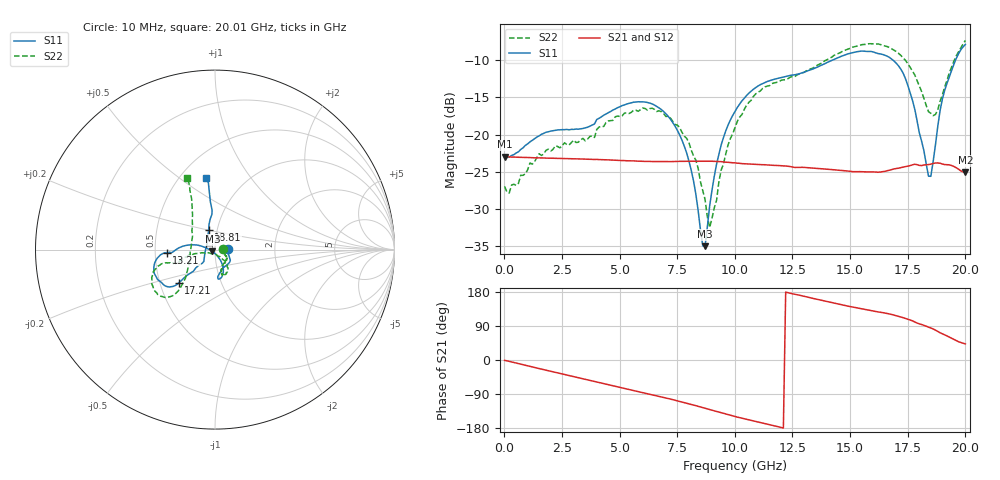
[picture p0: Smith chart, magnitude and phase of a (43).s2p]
! Hittite Microwave Corporation
! 2 Elizabeth Drive
! Chelmsford, MA 01824
! http://www.hittite.com
! Tel: 978-250-3343
! Fax: 978-250-3373
! Device:  HMC424LP3
! Description: 0.5 dB GaAs MMIC 6-Bit Digital Attenuator
! Frequency:  DC -  13.00 GHz
! Package:  LP3  - 3x3 mm Quad Flatpack No-Lead (QFN) Plastic Package: 16 pin
! Ports:  2 RF, 7 DC
!  Pad  1  = Ground
!  Pad  2  = RF IN  = Port 1
!  Pad  3  = Ground
!  Pad  4  = V6
!  Pad  5  = V5
!  Pad  6  = V4
!  Pad  7  = V3
!  Pad  8  = V2
!  Pad  9  = V1
!  Pad 10  = Ground
!  Pad 11  = RF OUT  = Port 2
!  Pad 12  = Ground
!  Pad 15  = VEE
! Control:  -5 Volt control voltage
! State:  41
! Attenuation:  20.5 dB
! Voltages:  Vdd = -5.00 Volts  Idd =  -2.397 mA
!  V1  = -5.00 Volts  I1  =  -1.0 uA
!  V2  = 0.00 Volts  I2  =  29.0 uA
!  V3  = 0.00 Volts  I3  =  29.0 uA
!  V4  = -5.00 Volts  I4  =  -1.0 uA
!  V5  = 0.00 Volts  I5  =  29.0 uA
!  V6  = -5.00 Volts  I6  =  -1.0 uA
! Data:  The device was measured on evaluation board 105354-1.
!  Data was collected using a calibrated network analyzer.
!  The evaluation circuit board was modeled and simulated.  This was use
!  to removed the evaluation board circuit from the measured data.
!  The reference plane is the edge of the package pin.
! Misc:  Lot xxxx, Unit 1
!  Application 20120001, Data collected in Application 20090083
! Date Measured:  2009-09-15
! Date:  2012-05-14  MJV
! Note:
!  Hittite supplies this data as a sample of measured data at the package pin
!  for this product.  Your particular data for this product may vary.
!  Data was taken at 25 degrees C.
!  Hittite reserves the right to change this data at anytime.
# GHz S MA R 50
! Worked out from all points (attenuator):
!   201 points, 10 MHz to 20.01 GHz, reference 50 ohm
!   highest |S21| = -22.97 dB at 10 MHz (marker M1); lowest = -25.1 dB at 20.01 GHz (marker M2)
!   lowest |S11| = -35.0 dB at 8.71 GHz (marker M3), VSWR 1.04, Z = 48.5 - j0.956 ohm
!   |S11| at or under -10 dB: start of sweep to 14.26 GHz; 16.86 GHz to 19.59 GHz (2.725 GHz wide, 15 % of centre)
!   |S22| runs from -32.5 to -7.4 dB; largest |S21 - S12| = 0.00045
!   S11 on the Smith chart (normalised r, x): 10 MHz: 1.15, +0.01; 13.21 GHz: 0.58, -0.02; 17.21 GHz: 0.63, -0.25; 18.81 GHz: 0.91, +0.20; 20.01 GHz: 0.66, +0.63
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0.01  0.0717 2.3  0.07107 -1.0  0.07128 -1.4  0.04496 6.7
1.51  0.09805 -31.7  0.06983 -22.7  0.0697 -22.7  0.07436 -29.5
3.41  0.1099 -61.5  0.06856 -49.8  0.06845 -49.9  0.09426 -54.2
5.51  0.1636 -84.1  0.06663 -79.3  0.06657 -79.4  0.141 -74.7
6.71  0.1511 -74.2  0.06596 -95.9  0.06584 -95.9  0.1444 -63.6
7.91  0.07535 -62.9  0.06626 -114.0  0.06614 -114.0  0.09447 -51.9
8.71  0.01785 -146.5  0.06625 -127.2  0.06611 -127.3  0.03671 -68.0
8.91  0.03318 178.4  0.06627 -130.7  0.06617 -130.7  0.02379 -104.0
9.41  0.0853 165.4  0.06583 -139.4  0.06571 -139.5  0.05791 -159.4
10.01  0.1431 169.4  0.06463 -149.1  0.06445 -149.1  0.1116 -168.6
11.21  0.2198 -179.5  0.06278 -166.5  0.06267 -166.5  0.2041 -162.6
13.21  0.2691 -176.4  0.05995 165.2  0.05983 165.2  0.2721 -164.3
13.41  0.2761 -176.4  0.05955 162.4  0.05937 162.4  0.2799 -164.8
15.11  0.3542 -164.0  0.05644 139.8  0.05637 139.8  0.3855 -156.2
16.71  0.3297 -140.8  0.05757 121.5  0.0575 121.5  0.384 -136.0
17.21  0.2743 -137.4  0.06003 113.5  0.05991 113.4  0.3393 -132.0
17.81  0.1485 -136.3  0.06323 100.6  0.0631 100.6  0.2517 -134.5
18.41  0.05261 179.8  0.06296 86.7  0.06284 86.8  0.1422 -165.4
18.51  0.05249 150.1  0.06331 84.6  0.06324 84.5  0.139 -174.6
18.81  0.1133 108.2  0.06452 75.4  0.06436 75.4  0.1464 148.6
19.21  0.2203 94.2  0.06275 63.6  0.06266 63.6  0.2308 122.8
20.01  0.4022 97.3  0.0557 42.5  0.0555 42.5  0.4279 111.2
